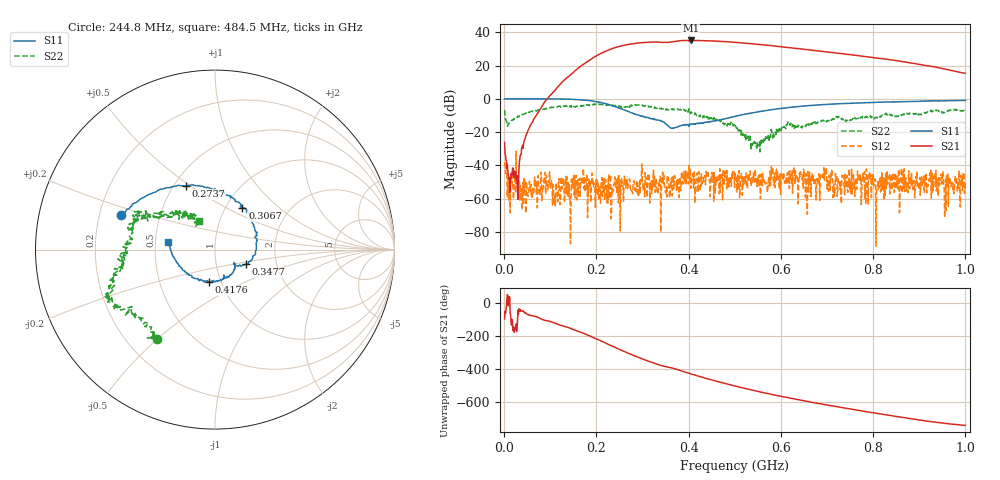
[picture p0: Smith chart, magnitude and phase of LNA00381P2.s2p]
! Created with skrf 1.9.0 (http://scikit-rf.org).
# Hz S RI R 50.0
!freq ReS11 ImS11 ReS21 ImS21 ReS12 ImS12 ReS22 ImS22
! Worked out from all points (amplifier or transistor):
!   1001 points, 1 MHz to 1 GHz, reference 50 ohm
!   highest |S21| = 35.1 dB at 404.6 MHz (marker M1)
!   |S21| within 3 dB of that: 257.7 MHz to 574.3 MHz (316.6 MHz wide, 76.1 % of centre)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
!   unconditionally stable (mu >= 1): 226.8 MHz to 297.7 MHz; 306 MHz to 400.5 MHz; 400.7 MHz to end of sweep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
!   at 166.8 MHz: K = 0.98, MSG = 34.2 dB, |S12| = -48.7 dB
!   at 500.5 MHz: K = 1.66, MAG = 34.4 dB, |S12| = -44.3 dB
!   at 1 GHz: K = 6.84, MAG = 23.2 dB, |S12| = -53.8 dB
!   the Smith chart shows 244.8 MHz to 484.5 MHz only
!   S11 on the Smith chart (normalised r, x): 244.8 MHz: 0.29, +0.16; 273.7 MHz: 0.57, +0.48; 306.7 MHz: 1.19, +0.60; 347.7 MHz: 1.40, -0.23; 417.6 MHz: 0.88, -0.33; 484.5 MHz: 0.59, +0.05
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1000000  0.9939 0.0169  -0.00272 -0.0491  -0.00964 0.00839  0.2954 0.357
1.08892e8  0.5146 -0.8522  -0.8103 -1.535  -0.0007 7.9e-05  0.4263 -0.3595
1.67833e8  -0.2472 -0.8961  -9.997 -0.5959  -0.000626 -0.00397  0.0403 -0.6289
2.1079e8  -0.6861 -0.345  -15.68 17.54  0.00318 0.000529  -0.2177 -0.643
2.44756e8  -0.5242 0.1927  1.345 36.18  -0.00135 -0.000391  -0.3237 -0.4961
2.73727e8  -0.1617 0.355  27.16 35.02  -0.000108 -0.00171  -0.5365 -0.3247
3.06694e8  0.1523 0.2325  47.73 13.47  -0.00392 -0.00196  -0.5923 -0.2155
3.34666e8  0.2298 -0.00177  49.55 -10.06  0.000396 0.00287  -0.5118 -0.0663
3.47653e8  0.1735 -0.0808  46.03 -18.48  -0.0013 0.00215  -0.4887 0.00996
3.75625e8  0.1106 -0.0896  41.25 -36.1  -0.000175 0.00198  -0.4431 0.1762
4.04596e8  0.0358 -0.1665  22.01 -52.31  -0.00079 0.00189  -0.3429 0.1808
4.17583e8  -0.0319 -0.181  11.56 -55.1  0.00298 0.00482  -0.2507 0.1825
4.49551e8  -0.1729 -0.1188  -12.85 -53.28  0.00214 0.00251  -0.1582 0.2079
4.84516e8  -0.2594 0.0418  -32.72 -40.31  0.00225 0.0016  -0.0913 0.1566
5.005e8  -0.26 0.1285  -38.68 -31.78  -0.0045 -0.00408  -0.0999 0.1501
5.4046e8  -0.1883 0.3335  -43.46 -9.868  0.00406 -0.00431  -0.0206 0.0439
5.88412e8  0.0195 0.4895  -36.72 11.2  -0.000417 -0.00376  -0.0801 -0.0607
6.67333e8  0.3995 0.4956  -14.45 24.86  0.00539 -0.00221  -0.1583 -0.0651
7.53247e8  0.6883 0.2768  4.195 20.56  0.00156 -0.00747  -0.2251 -0.0491
8.34166e8  0.8021 0.00535  11.32 10.12  -0.0022 -0.0034  -0.3413 -0.0581
9.18082e8  0.8163 -0.2881  9.774 0.9618  -0.00135 -0.00188  -0.4005 0.0878
1e9  0.7235 -0.5328  5.469 -2.001  0.00199 -0.000404  -0.3884 0.2244
